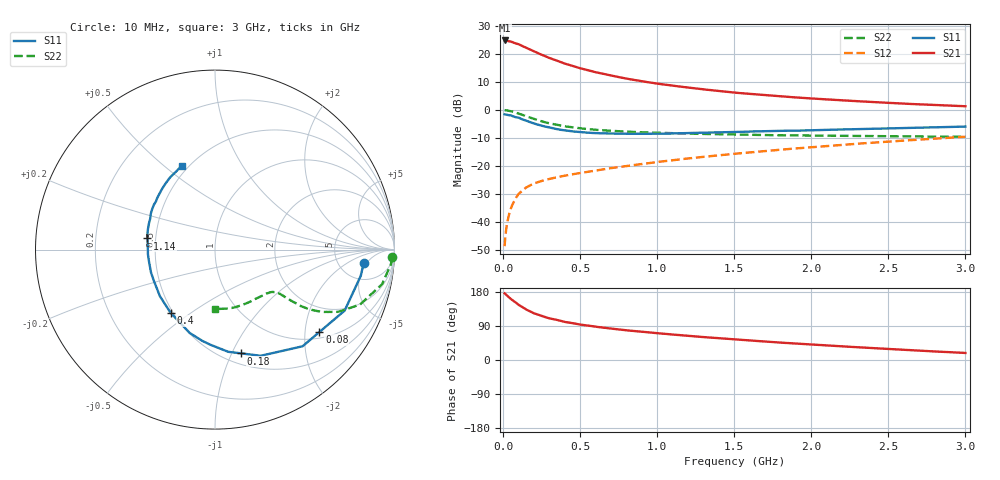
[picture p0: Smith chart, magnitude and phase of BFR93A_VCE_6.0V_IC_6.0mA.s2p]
! Infineon Technologies  Discrete & RF Semiconductors
! BFR93A
! VCE =  6.0 V,  IC =  6.0 mA
! Common Emitter S-Parameters:  Nov 2015
# GHz  S  MA  R  50
!  f  S11  S21  S12  S22
! GHz  MAG  ANG  MAG  ANG  MAG  ANG  MAG  ANG
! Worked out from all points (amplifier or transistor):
!   180 points, 10 MHz to 3 GHz, reference 50 ohm
!   highest |S21| = 24.7 dB at 10 MHz (marker M1)
!   |S21| within 3 dB of that: start of sweep to 166.2 MHz
!   unconditionally stable (mu >= 1): 722.4 MHz to 2.546 GHz
!   at 160 MHz: K = 0.37, MSG = 24.6 dB, |S12| = -27.4 dB
!   at 1.22 GHz: K = 1.10, MAG = 10.6 dB, |S12| = -17.2 dB
!   at 3 GHz: K = 0.94, MSG = 5.4 dB, |S12| = -9.6 dB
!   S11 on the Smith chart (normalised r, x): 10 MHz: 8.76, -4.28; 80 MHz: 1.17, -2.38; 180 MHz: 0.61, -1.09; 400 MHz: 0.49, -0.42; 1.14 GHz: 0.45, +0.07; 3 GHz: 0.46, +0.58
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0.01  0.8316 -5.2  17.27 175.8  0.0037 88.1  0.9889 -2.5
0.02  0.8253 -10.2  17.16 172.0  0.0073 83.2  0.9833 -4.8
0.05  0.7983 -25.2  16.53 161.1  0.0173 77.3  0.951 -11.7
0.08  0.7411 -38.3  15.37 152.2  0.0257 69.8  0.896 -16.9
0.1  0.7268 -47.8  14.82 145.6  0.0315 67.0  0.8639 -20.8
0.15  0.644 -66.7  12.83 132.9  0.0412 60.3  0.767 -26.9
0.18  0.5965 -75.8  11.73 127.5  0.0456 57.9  0.7191 -28.9
0.2  0.5743 -82.6  11.07 123.3  0.0486 56.5  0.6876 -30.3
0.24  0.5299 -93.0  9.88 117.4  0.0528 54.3  0.6358 -31.9
0.26  0.5131 -98.0  9.357 114.7  0.0548 53.6  0.6132 -32.5
0.3  0.4856 -106.8  8.418 109.9  0.0585 52.9  0.5746 -33.3
0.4  0.4306 -125.0  6.681 100.5  0.0669 52.8  0.5081 -33.9
0.52  0.3973 -141.9  5.346 92.5  0.0762 54.0  0.4621 -34.1
0.6  0.3844 -151.1  4.689 87.8  0.0827 55.0  0.4403 -34.2
0.7  0.3787 -160.3  4.073 82.7  0.0912 56.2  0.422 -34.7
0.82  0.3737 -169.8  3.527 77.6  0.101 57.5  0.4061 -35.6
1.02  0.3751 177.0  2.884 70.0  0.119 58.6  0.3885 -37.8
1.14  0.3814 170.6  2.614 65.9  0.13 59.1  0.3799 -39.8
1.52  0.4016 153.9  2.007 53.8  0.1662 59.4  0.3613 -47.1
2.02  0.4336 137.3  1.582 40.4  0.2173 57.9  0.347 -59.1
2.52  0.4678 123.8  1.323 28.8  0.2735 54.4  0.3387 -73.3
3  0.5028 111.7  1.158 18.6  0.3312 50.1  0.3314 -89.8
